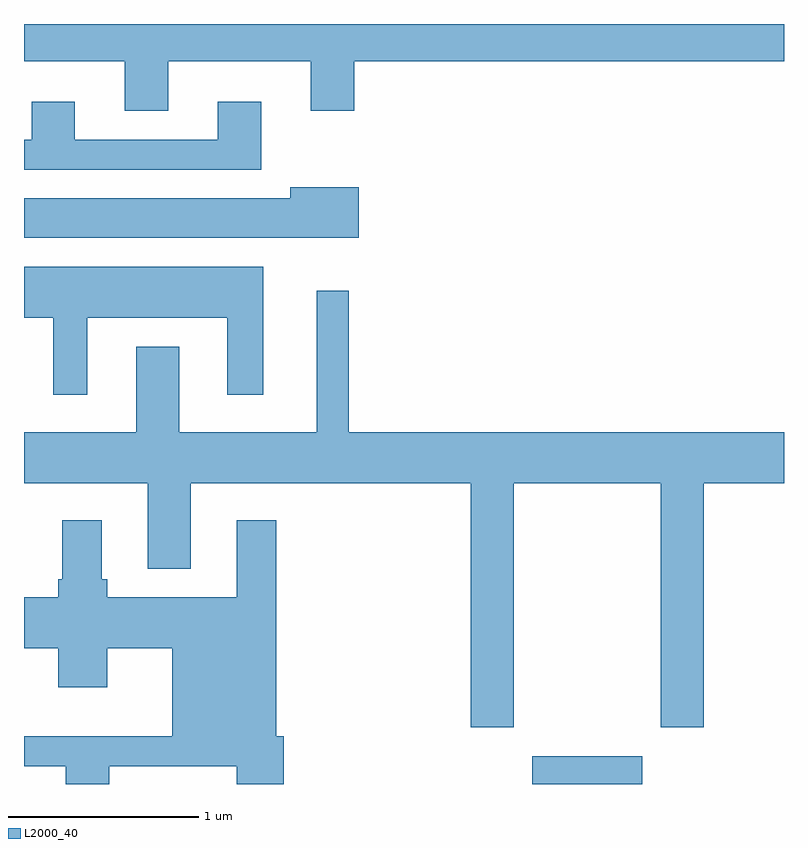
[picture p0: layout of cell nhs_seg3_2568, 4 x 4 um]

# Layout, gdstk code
import gdstk
lib = gdstk.Library(unit=1e-6, precision=1e-09)
def R(c, l, rs):  # rectangles x0, y0, x1, y1
    for r in rs: c.add(gdstk.rectangle(r[:2], r[2:], *l))
def P(c, l, *ps):  # polygons
    for p in ps: c.add(gdstk.Polygon(p, *l))
L2000_40 = (2000, 40)

nhs_seg3_2568 = lib.new_cell('nhs_seg3_2568')
R(nhs_seg3_2568, L2000_40, [(262.286,1219.892,262.864,1220.039)])
P(nhs_seg3_2568, L2000_40, [(260.369,1223.696),(261.121,1223.696),(261.121,1223.436),(261.349,1223.436),(261.349,1223.696),(263.611,1223.696),(263.611,1223.892),(259.611,1223.892),(259.611,1223.696),(260.141,1223.696),(260.141,1223.436),(260.369,1223.436)],
  [(260.859,1223.484),(260.631,1223.484),(260.631,1223.284),(259.879,1223.284),(259.879,1223.484),(259.651,1223.484),(259.651,1223.284),(259.611,1223.284),(259.611,1223.126),(260.859,1223.126)],
  [(261.374,1223.034),(261.011,1223.034),(261.011,1222.974),(259.611,1222.974),(259.611,1222.766),(261.374,1222.766)],
  [(259.944,1222.346),(260.681,1222.346),(260.681,1221.941),(260.869,1221.941),(260.869,1222.614),(259.611,1222.614),(259.611,1222.346),(259.766,1222.346),(259.766,1221.941),(259.944,1221.941)],
  [(262.189,1221.476),(262.961,1221.476),(262.961,1220.191),(263.189,1220.191),(263.189,1221.476),(263.611,1221.476),(263.611,1221.744),(261.319,1221.744),(261.319,1222.488),(261.151,1222.488),(261.151,1221.744),(260.429,1221.744),(260.429,1222.194),(260.201,1222.194),(260.201,1221.744),(259.611,1221.744),(259.611,1221.476),(260.261,1221.476),(260.261,1221.026),(260.489,1221.026),(260.489,1221.476),(261.961,1221.476),(261.961,1220.191),(262.189,1220.191)],
  [(260.059,1219.986),(260.731,1219.986),(260.731,1219.892),(260.979,1219.892),(260.979,1220.144),(260.939,1220.144),(260.939,1221.279),(260.731,1221.279),(260.731,1220.874),(260.049,1220.874),(260.049,1220.969),(260.019,1220.969),(260.019,1221.279),(259.811,1221.279),(259.811,1220.969),(259.791,1220.969),(259.791,1220.874),(259.611,1220.874),(259.611,1220.606),(259.791,1220.606),(259.791,1220.401),(260.049,1220.401),(260.049,1220.606),(260.391,1220.606),(260.391,1220.144),(259.611,1220.144),(259.611,1219.986),(259.831,1219.986),(259.831,1219.892),(260.059,1219.892)])

lib.write_gds('nhs_seg3_2568.gds')
